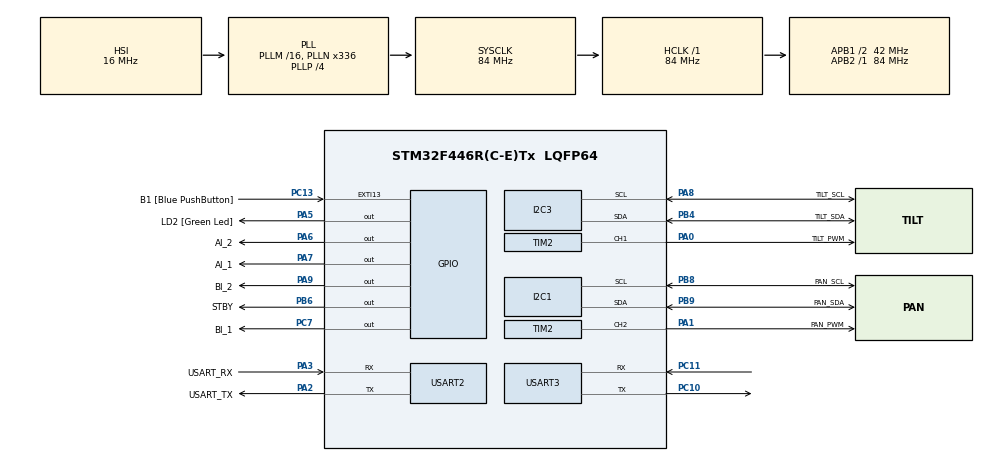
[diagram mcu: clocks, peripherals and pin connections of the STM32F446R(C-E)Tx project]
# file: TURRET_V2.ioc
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Dma.Request0=USART2_TX
Dma.USART2_TX.0.Direction=DMA_MEMORY_TO_PERIPH
Dma.USART2_TX.0.FIFOMode=DMA_FIFOMODE_DISABLE
Dma.USART2_TX.0.Instance=DMA1_Stream6
Dma.USART2_TX.0.MemDataAlignment=DMA_MDATAALIGN_BYTE
Dma.USART2_TX.0.MemInc=DMA_MINC_ENABLE
Dma.USART2_TX.0.Mode=DMA_NORMAL
Dma.USART2_TX.0.PeriphDataAlignment=DMA_PDATAALIGN_BYTE
Dma.USART2_TX.0.PeriphInc=DMA_PINC_DISABLE
Dma.USART2_TX.0.Priority=DMA_PRIORITY_LOW
Mcu.Family=STM32F4
Mcu.Name=STM32F446R(C-E)Tx
Mcu.Package=LQFP64
NVIC.DMA1_Stream6_IRQn=true\:0\:0\:false\:false\:true\:false\:true\:true
NVIC.I2C1_EV_IRQn=true\:0\:0\:false\:false\:true\:true\:true\:true
NVIC.I2C3_EV_IRQn=true\:0\:0\:false\:false\:true\:true\:true\:true
NVIC.PriorityGroup=NVIC_PRIORITYGROUP_0
NVIC.TIM3_IRQn=true\:0\:0\:false\:false\:true\:true\:true\:true
NVIC.USART2_IRQn=true\:0\:0\:false\:false\:true\:true\:true\:true
NVIC.USART3_IRQn=true\:0\:0\:false\:false\:true\:true\:true\:true
PA0-WKUP.GPIO_Label=TILT_PWM
PA0-WKUP.Signal=S_TIM2_CH1_ETR
PA1.GPIO_Label=PAN_PWM
PA1.Signal=S_TIM2_CH2
PA13.GPIO_Label=TMS
PA13.Mode=Serial_Wire
PA13.Signal=SYS_JTMS-SWDIO
PA14.GPIO_Label=TCK
PA14.Mode=Serial_Wire
PA14.Signal=SYS_JTCK-SWCLK
PA2.GPIO_Label=USART_TX
PA2.Mode=Asynchronous
PA2.Signal=USART2_TX
PA3.GPIO_Label=USART_RX
PA3.Mode=Asynchronous
PA3.Signal=USART2_RX
PA5.GPIO_Label=LD2 [Green Led]
PA5.Signal=GPIO_Output
PA6.GPIO_Label=AI_2
PA6.Signal=GPIO_Output
PA7.GPIO_Label=AI_1
PA7.Signal=GPIO_Output
PA8.GPIO_Label=TILT_SCL
PA8.Mode=I2C
PA8.Signal=I2C3_SCL
PA9.GPIO_Label=BI_2
PA9.Signal=GPIO_Output
PB3.GPIO_Label=SWO
PB3.Signal=SYS_JTDO-SWO
PB4.GPIO_Label=TILT_SDA
PB4.Mode=I2C
PB4.Signal=I2C3_SDA
PB6.GPIO_Label=STBY
PB6.Signal=GPIO_Output
PB8.GPIO_Label=PAN_SCL
PB8.Mode=I2C
PB8.Signal=I2C1_SCL
PB9.GPIO_Label=PAN_SDA
PB9.Mode=I2C
PB9.Signal=I2C1_SDA
PC10.Mode=Asynchronous
PC10.Signal=USART3_TX
PC11.Mode=Asynchronous
PC11.Signal=USART3_RX
PC13.GPIO_Label=B1 [Blue PushButton]
PC13.GPIO_ModeDefaultEXTI=GPIO_MODE_IT_FALLING
PC13.Signal=GPXTI13
PC14-OSC32_IN.Mode=LSE-External-Oscillator
PC14-OSC32_IN.Signal=RCC_OSC32_IN
PC15-OSC32_OUT.Mode=LSE-External-Oscillator
PC15-OSC32_OUT.Signal=RCC_OSC32_OUT
PC7.GPIO_Label=BI_1
PC7.Signal=GPIO_Output
PH0-OSC_IN.Mode=HSE-External-Oscillator
PH0-OSC_IN.Signal=RCC_OSC_IN
PH1-OSC_OUT.Mode=HSE-External-Oscillator
PH1-OSC_OUT.Signal=RCC_OSC_OUT
ProjectManager.HeapSize=0x200
ProjectManager.StackSize=0x400
ProjectManager.TargetToolchain=STM32CubeIDE
RCC.48MHZClocksFreq_Value=84000000
RCC.AHBFreq_Value=84000000
RCC.APB1CLKDivider=RCC_HCLK_DIV2
RCC.APB1Freq_Value=42000000
RCC.APB1TimFreq_Value=84000000
RCC.APB2Freq_Value=84000000
RCC.APB2TimFreq_Value=84000000
RCC.CortexFreq_Value=84000000
RCC.FLatency-AdvancedSettings=FLASH_LATENCY_2
RCC.HCLKFreq_Value=84000000
RCC.HSE_VALUE=8000000
RCC.HSI_VALUE=16000000
RCC.PLLN=336
RCC.PLLP=RCC_PLLP_DIV4
RCC.SYSCLKFreq_VALUE=84000000
RCC.SYSCLKSource=RCC_SYSCLKSOURCE_PLLCLK
RCC.USBFreq_Value=168000000
RCC.VCOOutputFreq_Value=336000000
SH.S_TIM2_CH1_ETR.0=TIM2_CH1,PWM Generation1 CH1
SH.S_TIM2_CH2.0=TIM2_CH2,PWM Generation2 CH2
TIM2.Channel-PWM\ Generation1\ CH1=TIM_CHANNEL_1
TIM2.Channel-PWM\ Generation2\ CH2=TIM_CHANNEL_2
TIM2.Period=999
TIM2.Prescaler=3
TIM3.Period=6249
TIM3.Prescaler=83
USART2.VirtualMode=VM_ASYNC
USART3.VirtualMode=VM_ASYNC
VP_TIM2_VS_ClockSourceINT.Mode=Internal
VP_TIM3_VS_ClockSourceINT.Mode=Internal
board=NUCLEO-F446RE

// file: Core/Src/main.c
/* USER CODE BEGIN Header */
/**
  ******************************************************************************
  * @file           : main.c
  * @brief          : Main program body
  ******************************************************************************
  * @attention
  *
  * Copyright (c) 2026 STMicroelectronics.
  * All rights reserved.
  *
  * This software is licensed under terms that can be found in the LICENSE file
  * in the root directory of this software component.
  * If no LICENSE file comes with this software, it is provided AS-IS.
  *
  ******************************************************************************
  */
/* USER CODE END Header */
#include "main.h"

/* USER CODE BEGIN Includes */
#include "string.h"
#include "stdlib.h"
#include "stdio.h"
#include "math.h"
#include "pid.h"
#include "telemetry.h"

/* USER CODE END Includes */

/* USER CODE BEGIN PD */
#define RX_BUF_SIZE 16
#define MAX_FIELD 4 // i.e: "p-70" is 4 chars

#define I2C_FAIL_LIMIT 5   // consecutive failures before recovery

#define TELEM_TARGET_PAN 1 // Which axis telemetry streams. 1 = pan, 0 = tilt.

#define TILT_ANGLE_MAX 210.0 // from chassis physical constraints + encoder readings based on assembled magnet orientation
#define TILT_ANGLE_MIN 100

#define PAN_ANGLE_MAX 190.0
#define PAN_ANGLE_MIN 50.0

/* USER CODE END PD */

I2C_HandleTypeDef hi2c1;
I2C_HandleTypeDef hi2c3;

TIM_HandleTypeDef htim2;
TIM_HandleTypeDef htim3;

UART_HandleTypeDef huart2;
UART_HandleTypeDef huart3;

DMA_HandleTypeDef hdma_usart2_tx; // for telemetry read from stm to mac to tune PID gains

void SystemClock_Config(void);
static void MX_GPIO_Init(void);
static void MX_DMA_Init(void);
static void MX_I2C1_Init(void);
static void MX_I2C3_Init(void);
static void MX_TIM2_Init(void);
static void MX_USART2_UART_Init(void);
static void MX_USART3_UART_Init(void);
static void MX_TIM3_Init(void);
/* USER CODE BEGIN PFP */
void parse (char *);
float read_angle(I2C_HandleTypeDef *hi2c);
void i2c_recover(PID_t *pid, GPIO GPIO_1, GPIO GPIO_2, I2C_HandleTypeDef *hi2c);
static float boot_read_angle(I2C_HandleTypeDef *hi2c);

/* USER CODE END PFP */

/* USER CODE BEGIN 0 */
volatile uint32_t pid_tick = 0; // for telemetry

// ------ UART ------
volatile char rx_buff[RX_BUF_SIZE];
volatile char rxByte;
volatile uint8_t rxIndex;
volatile uint8_t cmdReady;
// ------------------

// ------ PID target positions ------
float target_tilt_position;
float target_pan_position;
// ----------------------------------

volatile uint8_t flag; //toggles at pid frequency (160hz form timer 3)

// ------ Motor driver GPIOs to set direction ------
// ------     (B = Pan, A = Tilt)      ------
GPIO AIN1 = {AI_1_GPIO_Port, AI_1_Pin};
GPIO AIN2 = {AI_2_GPIO_Port, AI_2_Pin};

GPIO BIN1 = {BI_1_GPIO_Port, BI_1_Pin};
GPIO BIN2 = {BI_2_GPIO_Port, BI_2_Pin};
// --------------------------------------------

// ------ PID motor gain assignment ------
PID_t pan_pid = { .kp = 30, .ki = 0, .kd = 0.75f, .out_limit = 999.0f, .integral_limit = 300.0f, .slew = 25.0f,
                  .ff_fwd = 86.0f, .ff_rev = 84.0f, .ff_vel_fade = 60.0f, .kv = 1.6f, .band_stop = 3.0f, .band_go = 4.5f,
                  .track_vel = 5.0f, .stall_ticks = 24, .fric_fwd = 0.0f, .fric_rev = 0.0f, .fric_vel = 0.0f};

PID_t tilt_pid = { .kp = 10, .ki = 3.0f, .kd = 0.75f, .out_limit = 999.0f, .integral_limit = 300.0f, .slew = 0.0f,
                   .ff_fwd = 90.0f, .ff_rev = 75.0f, .ff_vel_fade = 60.0f, .kv = 0.0f, .band_stop = 0.5f, .band_go = 1.2f,
                   .track_vel = 0.0f, .stall_ticks = 0, .fric_fwd = 155.0f, .fric_rev = 125.0f, .fric_vel = 2.0f};
// ---------------------------------------

float pan_angle_max;
float pan_angle_min;

float tilt_angle_max;
float tilt_angle_min;

// ------ Reference (Zero) point ------
float boot_pan_pos;
float boot_tilt_pos;
// ------------------------------------

// ------ Used to transmit the current absolute position of the motors relative to the reference point to the pi ------
static char tx_buf[48];
// --------------------------------------------------------------------------------------------------------------------

/* USER CODE END 0 */

int main(void)
{

  /* MCU Configuration--------------------------------------------------------*/

  /* Reset of all peripherals, Initializes the Flash interface and the Systick. */
  HAL_Init();

  /* Configure the system clock */
  SystemClock_Config();

  /* Initialize all configured peripherals */
  MX_GPIO_Init();
  MX_DMA_Init();
  MX_I2C1_Init();
  MX_I2C3_Init();
  MX_TIM2_Init();
  MX_USART2_UART_Init();
  MX_USART3_UART_Init();
  MX_TIM3_Init();
  /* USER CODE BEGIN 2 */

  HAL_UART_Receive_IT(&huart3, &rxByte, 1);
  HAL_TIM_PWM_Start(&htim2, TIM_CHANNEL_1);
  HAL_TIM_PWM_Start(&htim2, TIM_CHANNEL_2);
  HAL_TIM_Base_Start_IT(&htim3);
  __HAL_I2C_ENABLE(&hi2c1);
  __HAL_I2C_ENABLE(&hi2c3);

  // test to make sure motors spin the right way
//    HAL_GPIO_WritePin(AIN1.port, AIN1.pin, GPIO_PIN_SET); // should  be up
//    HAL_GPIO_WritePin(AIN2.port, AIN2.pin, GPIO_PIN_RESET);
//    __HAL_TIM_SET_COMPARE(&htim2, TIM_CHANNEL_1, 200);
//    HAL_Delay(500);
//    __HAL_TIM_SET_COMPARE(&htim2, TIM_CHANNEL_1, 0);
//    HAL_GPIO_WritePin(AIN1.port, AIN1.pin, GPIO_PIN_RESET);
//    HAL_GPIO_WritePin(AIN2.port, AIN2.pin, GPIO_PIN_RESET);
//    while(1);

//    HAL_GPIO_WritePin(BIN1.port, BIN1.pin, GPIO_PIN_SET); // should be clockwise
//    HAL_GPIO_WritePin(BIN2.port, BIN2.pin, GPIO_PIN_RESET);
//    __HAL_TIM_SET_COMPARE(&htim2, TIM_CHANNEL_2, 200);
//      HAL_Delay(500);
//      __HAL_TIM_SET_COMPARE(&htim2, TIM_CHANNEL_2, 0);
//      HAL_GPIO_WritePin(BIN1.port, BIN1.pin, GPIO_PIN_RESET);
//      HAL_GPIO_WritePin(BIN2.port, BIN2.pin, GPIO_PIN_RESET);
//
//    while(1);

  boot_pan_pos = boot_read_angle(&hi2c1);
  target_pan_position   = boot_pan_pos;
  pan_pid.prev_measurement = boot_pan_pos;
  pan_angle_max = PAN_ANGLE_MAX;
  pan_angle_min = PAN_ANGLE_MIN;

  boot_tilt_pos = boot_read_angle(&hi2c3);
  target_tilt_position  = boot_tilt_pos;
  tilt_pid.prev_measurement = boot_tilt_pos;
  tilt_angle_max = TILT_ANGLE_MAX;
  tilt_angle_min = TILT_ANGLE_MIN;

  // arm the driver
  HAL_GPIO_WritePin(STBY_GPIO_Port, STBY_Pin, GPIO_PIN_SET);

  /* USER CODE END 2 */

  /* Infinite loop */
  /* USER CODE BEGIN WHILE */
  while (1)
  {
	  if (cmdReady) {
	  		 parse(rx_buff); // Populate target_pan_position and target_tilt_position
	  	     cmdReady = 0;
	  	  }

	  if (flag) {

		  float current_tilt_position = read_angle(&hi2c3);
		  float current_pan_position  = read_angle(&hi2c1);

		  if (current_tilt_position == 0xFFFF) {
		      i2c_recover(&tilt_pid, AIN2, AIN1, &hi2c3);
		  } else {
			  if (tilt_pid.reseed) {
			      tilt_pid.prev_measurement = current_tilt_position;
			      tilt_pid.prev_target      = target_tilt_position;
			      tilt_pid.tvel_f           = 0.0f;
			      tilt_pid.speed_f          = 0.0f;
			      tilt_pid.reseed           = 0;
			  }
		      tilt_pid.fail_count = 0;

		      if (target_tilt_position > tilt_angle_max) target_tilt_position = tilt_angle_max;
		      if (target_tilt_position < tilt_angle_min) target_tilt_position = tilt_angle_min;

		      float tilt_ccr = pid(target_tilt_position, current_tilt_position, AIN2, AIN1, &tilt_pid);
		      __HAL_TIM_SET_COMPARE(&htim2, TIM_CHANNEL_1, tilt_ccr);
		  }

		  if (current_pan_position == 0xFFFF) {
		      i2c_recover(&pan_pid, BIN1, BIN2, &hi2c1);
		  } else {
			  if (pan_pid.reseed) {
			      	  pan_pid.prev_measurement = current_pan_position;
			      	  pan_pid.prev_target      = target_pan_position;
			      	  pan_pid.tvel_f           = 0.0f;
			      	  pan_pid.speed_f          = 0.0f;
			      	  pan_pid.reseed           = 0;
			  }
		      pan_pid.fail_count = 0;

		      if (target_pan_position > pan_angle_max) target_pan_position = pan_angle_max;
		      if (target_pan_position < pan_angle_min) target_pan_position = pan_angle_min;

		      float pan_ccr = pid(target_pan_position, current_pan_position, BIN1, BIN2, &pan_pid);
		      __HAL_TIM_SET_COMPARE(&htim2, TIM_CHANNEL_2, pan_ccr);
		  }

			  // ----- Telemetry for tuning -----

		  if (TELEM_TARGET_PAN) {
			  if (current_pan_position != 0xFFFF) {
				  telemetry_emit(pid_tick, (float)target_pan_position, current_pan_position,
			                 (float)target_pan_position - current_pan_position,
			                 pan_pid.last_output, &pan_pid);
			  }
		  }
		  else {
			  if (current_tilt_position != 0xFFFF) {
				  telemetry_emit(pid_tick, (float)target_tilt_position, current_tilt_position,
			                 (float)target_tilt_position - current_tilt_position,
			                 tilt_pid.last_output, &tilt_pid);
			  }
		  }

		  // ----- Send updated current pan and tilt position back to the pi ------
		  int len = snprintf(tx_buf, sizeof(tx_buf), "p%.2ft%.2f\n", current_pan_position  - boot_pan_pos, current_tilt_position - boot_tilt_pos);
		  HAL_UART_Transmit_IT(&huart3, (uint8_t *)tx_buf, len);

	      pid_tick++;
	      flag = 0;
	  }

    /* USER CODE END WHILE */

  }
}

void SystemClock_Config(void)
{
  RCC_OscInitTypeDef RCC_OscInitStruct = {0};
  RCC_ClkInitTypeDef RCC_ClkInitStruct = {0};

  /** Configure the main internal regulator output voltage
  */
  __HAL_RCC_PWR_CLK_ENABLE();
  __HAL_PWR_VOLTAGESCALING_CONFIG(PWR_REGULATOR_VOLTAGE_SCALE3);

  /** Initializes the RCC Oscillators according to the specified parameters
  * in the RCC_OscInitTypeDef structure.
  */
  RCC_OscInitStruct.OscillatorType = RCC_OSCILLATORTYPE_HSI;
  RCC_OscInitStruct.HSIState = RCC_HSI_ON;
  RCC_OscInitStruct.HSICalibrationValue = RCC_HSICALIBRATION_DEFAULT;
  RCC_OscInitStruct.PLL.PLLState = RCC_PLL_ON;
  RCC_OscInitStruct.PLL.PLLSource = RCC_PLLSOURCE_HSI;
  RCC_OscInitStruct.PLL.PLLM = 16;
  RCC_OscInitStruct.PLL.PLLN = 336;
  RCC_OscInitStruct.PLL.PLLP = RCC_PLLP_DIV4;
  RCC_OscInitStruct.PLL.PLLQ = 2;
  RCC_OscInitStruct.PLL.PLLR = 2;
  if (HAL_RCC_OscConfig(&RCC_OscInitStruct) != HAL_OK)
  {
    Error_Handler();
  }

  /** Initializes the CPU, AHB and APB buses clocks
  */
  RCC_ClkInitStruct.ClockType = RCC_CLOCKTYPE_HCLK|RCC_CLOCKTYPE_SYSCLK
                              |RCC_CLOCKTYPE_PCLK1|RCC_CLOCKTYPE_PCLK2;
  RCC_ClkInitStruct.SYSCLKSource = RCC_SYSCLKSOURCE_PLLCLK;
  RCC_ClkInitStruct.AHBCLKDivider = RCC_SYSCLK_DIV1;
  RCC_ClkInitStruct.APB1CLKDivider = RCC_HCLK_DIV2;
  RCC_ClkInitStruct.APB2CLKDivider = RCC_HCLK_DIV1;

  if (HAL_RCC_ClockConfig(&RCC_ClkInitStruct, FLASH_LATENCY_2) != HAL_OK)
  {
    Error_Handler();
  }
}

static void MX_I2C1_Init(void)
{

  hi2c1.Instance = I2C1;
  hi2c1.Init.ClockSpeed = 100000;
  hi2c1.Init.DutyCycle = I2C_DUTYCYCLE_2;
  hi2c1.Init.OwnAddress1 = 0;
  hi2c1.Init.AddressingMode = I2C_ADDRESSINGMODE_7BIT;
  hi2c1.Init.DualAddressMode = I2C_DUALADDRESS_DISABLE;
  hi2c1.Init.OwnAddress2 = 0;
  hi2c1.Init.GeneralCallMode = I2C_GENERALCALL_DISABLE;
  hi2c1.Init.NoStretchMode = I2C_NOSTRETCH_DISABLE;
  if (HAL_I2C_Init(&hi2c1) != HAL_OK)
  {
    Error_Handler();
  }

}

static void MX_I2C3_Init(void)
{

  hi2c3.Instance = I2C3;
  hi2c3.Init.ClockSpeed = 100000;
  hi2c3.Init.DutyCycle = I2C_DUTYCYCLE_2;
  hi2c3.Init.OwnAddress1 = 0;
  hi2c3.Init.AddressingMode = I2C_ADDRESSINGMODE_7BIT;
  hi2c3.Init.DualAddressMode = I2C_DUALADDRESS_DISABLE;
  hi2c3.Init.OwnAddress2 = 0;
  hi2c3.Init.GeneralCallMode = I2C_GENERALCALL_DISABLE;
  hi2c3.Init.NoStretchMode = I2C_NOSTRETCH_DISABLE;
  if (HAL_I2C_Init(&hi2c3) != HAL_OK)
  {
    Error_Handler();
  }

}

static void MX_TIM2_Init(void)
{

  TIM_ClockConfigTypeDef sClockSourceConfig = {0};
  TIM_MasterConfigTypeDef sMasterConfig = {0};
  TIM_OC_InitTypeDef sConfigOC = {0};

  htim2.Instance = TIM2;
  htim2.Init.Prescaler = 3;
  htim2.Init.CounterMode = TIM_COUNTERMODE_UP;
  htim2.Init.Period = 999;
  htim2.Init.ClockDivision = TIM_CLOCKDIVISION_DIV1;
  htim2.Init.AutoReloadPreload = TIM_AUTORELOAD_PRELOAD_DISABLE;
  if (HAL_TIM_Base_Init(&htim2) != HAL_OK)
  {
    Error_Handler();
  }
  sClockSourceConfig.ClockSource = TIM_CLOCKSOURCE_INTERNAL;
  if (HAL_TIM_ConfigClockSource(&htim2, &sClockSourceConfig) != HAL_OK)
  {
    Error_Handler();
  }
  if (HAL_TIM_PWM_Init(&htim2) != HAL_OK)
  {
    Error_Handler();
  }
  sMasterConfig.MasterOutputTrigger = TIM_TRGO_RESET;
  sMasterConfig.MasterSlaveMode = TIM_MASTERSLAVEMODE_DISABLE;
  if (HAL_TIMEx_MasterConfigSynchronization(&htim2, &sMasterConfig) != HAL_OK)
  {
    Error_Handler();
  }
  sConfigOC.OCMode = TIM_OCMODE_PWM1;
  sConfigOC.Pulse = 0;
  sConfigOC.OCPolarity = TIM_OCPOLARITY_HIGH;
  sConfigOC.OCFastMode = TIM_OCFAST_DISABLE;
  if (HAL_TIM_PWM_ConfigChannel(&htim2, &sConfigOC, TIM_CHANNEL_1) != HAL_OK)
  {
    Error_Handler();
  }
  if (HAL_TIM_PWM_ConfigChannel(&htim2, &sConfigOC, TIM_CHANNEL_2) != HAL_OK)
  {
    Error_Handler();
  }
  HAL_TIM_MspPostInit(&htim2);

}

static void MX_TIM3_Init(void)
{

  TIM_ClockConfigTypeDef sClockSourceConfig = {0};
  TIM_MasterConfigTypeDef sMasterConfig = {0};

  htim3.Instance = TIM3;
  htim3.Init.Prescaler = 83;
  htim3.Init.CounterMode = TIM_COUNTERMODE_UP;
  htim3.Init.Period = 6249;
  htim3.Init.ClockDivision = TIM_CLOCKDIVISION_DIV1;
  htim3.Init.AutoReloadPreload = TIM_AUTORELOAD_PRELOAD_DISABLE;
  if (HAL_TIM_Base_Init(&htim3) != HAL_OK)
  {
    Error_Handler();
  }
  sClockSourceConfig.ClockSource = TIM_CLOCKSOURCE_INTERNAL;
  if (HAL_TIM_ConfigClockSource(&htim3, &sClockSourceConfig) != HAL_OK)
  {
    Error_Handler();
  }
  sMasterConfig.MasterOutputTrigger = TIM_TRGO_RESET;
  sMasterConfig.MasterSlaveMode = TIM_MASTERSLAVEMODE_DISABLE;
  if (HAL_TIMEx_MasterConfigSynchronization(&htim3, &sMasterConfig) != HAL_OK)
  {
    Error_Handler();
  }

}

static void MX_USART2_UART_Init(void)
{

  huart2.Instance = USART2;
  huart2.Init.BaudRate = 115200;
  huart2.Init.WordLength = UART_WORDLENGTH_8B;
  huart2.Init.StopBits = UART_STOPBITS_1;
  huart2.Init.Parity = UART_PARITY_NONE;
  huart2.Init.Mode = UART_MODE_TX_RX;
  huart2.Init.HwFlowCtl = UART_HWCONTROL_NONE;
  huart2.Init.OverSampling = UART_OVERSAMPLING_16;
  if (HAL_UART_Init(&huart2) != HAL_OK)
  {
    Error_Handler();
  }

}

static void MX_USART3_UART_Init(void)
{

  huart3.Instance = USART3;
  huart3.Init.BaudRate = 115200;
  huart3.Init.WordLength = UART_WORDLENGTH_8B;
  huart3.Init.StopBits = UART_STOPBITS_1;
  huart3.Init.Parity = UART_PARITY_NONE;
  huart3.Init.Mode = UART_MODE_TX_RX;
  huart3.Init.HwFlowCtl = UART_HWCONTROL_NONE;
  huart3.Init.OverSampling = UART_OVERSAMPLING_16;
  if (HAL_UART_Init(&huart3) != HAL_OK)
  {
    Error_Handler();
  }

}

static void MX_DMA_Init(void)
{

  /* DMA controller clock enable */
  __HAL_RCC_DMA1_CLK_ENABLE();

  /* DMA interrupt init */
  /* DMA1_Stream6_IRQn interrupt configuration */
  HAL_NVIC_SetPriority(DMA1_Stream6_IRQn, 0, 0);
  HAL_NVIC_EnableIRQ(DMA1_Stream6_IRQn);

}

static void MX_GPIO_Init(void)
{
  GPIO_InitTypeDef GPIO_InitStruct = {0};

  /* GPIO Ports Clock Enable */
  __HAL_RCC_GPIOC_CLK_ENABLE();
  __HAL_RCC_GPIOH_CLK_ENABLE();
  __HAL_RCC_GPIOA_CLK_ENABLE();
  __HAL_RCC_GPIOB_CLK_ENABLE();

  /*Configure GPIO pin Output Level */
  HAL_GPIO_WritePin(GPIOA, LD2_Pin|AI_2_Pin|AI_1_Pin|BI_2_Pin, GPIO_PIN_RESET);

  /*Configure GPIO pin Output Level */
  HAL_GPIO_WritePin(BI_1_GPIO_Port, BI_1_Pin, GPIO_PIN_RESET);

  /*Configure GPIO pin Output Level */
  HAL_GPIO_WritePin(STBY_GPIO_Port, STBY_Pin, GPIO_PIN_RESET);

  /*Configure GPIO pin : B1_Pin */
  GPIO_InitStruct.Pin = B1_Pin;
  GPIO_InitStruct.Mode = GPIO_MODE_IT_FALLING;
  GPIO_InitStruct.Pull = GPIO_NOPULL;
  HAL_GPIO_Init(B1_GPIO_Port, &GPIO_InitStruct);

  /*Configure GPIO pins : LD2_Pin AI_2_Pin AI_1_Pin BI_2_Pin */
  GPIO_InitStruct.Pin = LD2_Pin|AI_2_Pin|AI_1_Pin|BI_2_Pin;
  GPIO_InitStruct.Mode = GPIO_MODE_OUTPUT_PP;
  GPIO_InitStruct.Pull = GPIO_NOPULL;
  GPIO_InitStruct.Speed = GPIO_SPEED_FREQ_LOW;
  HAL_GPIO_Init(GPIOA, &GPIO_InitStruct);

  /*Configure GPIO pin : BI_1_Pin */
  GPIO_InitStruct.Pin = BI_1_Pin;
  GPIO_InitStruct.Mode = GPIO_MODE_OUTPUT_PP;
  GPIO_InitStruct.Pull = GPIO_NOPULL;
  GPIO_InitStruct.Speed = GPIO_SPEED_FREQ_LOW;
  HAL_GPIO_Init(BI_1_GPIO_Port, &GPIO_InitStruct);

  /*Configure GPIO pin : STBY_Pin */
  GPIO_InitStruct.Pin = STBY_Pin;
  GPIO_InitStruct.Mode = GPIO_MODE_OUTPUT_PP;
  GPIO_InitStruct.Pull = GPIO_NOPULL;
  GPIO_InitStruct.Speed = GPIO_SPEED_FREQ_LOW;
  HAL_GPIO_Init(STBY_GPIO_Port, &GPIO_InitStruct);

}

/* USER CODE BEGIN 4 */

// ------ Takes UART command from PI and parses into target motor positions ------
void parse (char *buffer) {

	char pan_buf[MAX_FIELD + 1]; // + 1 for the null character
	uint8_t i = 0;

	while (buffer[i] != ' ' && i < MAX_FIELD && buffer[i] != '\0') { // command protocol from the pi should be of the form "pxx txx"
		pan_buf[i] = buffer[i];
		i++;
	}
	pan_buf[i] = '\0';
	target_pan_position = atoi(&pan_buf[1]) + boot_pan_pos;

	if(target_pan_position > pan_angle_max) {
		target_pan_position = pan_angle_max;
	}

	if(target_pan_position < pan_angle_min) {
		target_pan_position = pan_angle_min;
	}

	if (buffer[++i] == 't') {
		char *tilt_buf = &(buffer[i + 1]); // i.e. at this point buffer[i] = t15
		target_tilt_position = atoi(tilt_buf) + boot_tilt_pos;
	}

	if(target_tilt_position > tilt_angle_max) {
		target_tilt_position = tilt_angle_max;
	}

	if(target_tilt_position < tilt_angle_min) {
		target_tilt_position = tilt_angle_min;
	}
}

// ------ Takes each byte one at a time over UART from the pi and stores it in the rx_buf ------
// ------           Overwrites weak ISR function (so dont need a prototype at top)          ------
void HAL_UART_RxCpltCallback(UART_HandleTypeDef *huart)
{
	if (huart->Instance == USART3) {
		if (rxByte == '\r' || rxByte == '\n') {
		    rx_buff[rxIndex] = '\0';
		    rxIndex = 0;
		    cmdReady = 1;
		} else if (rxIndex < RX_BUF_SIZE - 1) {
		    rx_buff[rxIndex] = rxByte;
		    rxIndex++;
		}
	}
	HAL_UART_Receive_IT(&huart3, &rxByte, 1);
}

// ------ Flag sets frequency of PID loop ------
void HAL_TIM_PeriodElapsedCallback(TIM_HandleTypeDef *htim)
{
    if (htim->Instance == TIM3) {
        // fires at 160 Hz
    	flag = 1;
    }
}

// ------ Read current position from encoder ------
#define MT6701_I2C_ADDR   (0x06 << 1)
#define MT6701_ANGLE_REG  0x03

float read_angle(I2C_HandleTypeDef *hi2c)
{
    uint8_t data[2] = {0};

    if (HAL_I2C_Mem_Read(hi2c, MT6701_I2C_ADDR, MT6701_ANGLE_REG,
                         I2C_MEMADD_SIZE_8BIT, data, 2, 100) != HAL_OK)
    {
        return 0xFFFF;
    }
    uint16_t raw = ((uint16_t)data[0] << 6) | (data[1] >> 2); // 14-bit raw encoder output
    return (raw * 360.0) / 16384.0; // returns angle in degrees
}

void i2c_recover(PID_t *pid, GPIO GPIO_1, GPIO GPIO_2, I2C_HandleTypeDef *hi2c)
{
	char err[] = "I2C read failed\r\n";
	HAL_UART_Transmit(&huart2, (uint8_t*)err, sizeof(err) - 1, HAL_MAX_DELAY);

	pid -> fail_count++;

	pid->integral = 0;
	pid -> reseed = 1;
	pid->last_output = 0.0f;
	pid-> stall_count = 0;
	pid -> in_band = 1;
	HAL_GPIO_WritePin(GPIO_1.port, GPIO_1.pin, GPIO_PIN_SET);
	HAL_GPIO_WritePin(GPIO_2.port, GPIO_2.pin, GPIO_PIN_SET);

	if (pid->fail_count >= I2C_FAIL_LIMIT) {

	    char msg[] = "I2C recovering...\r\n";
	    HAL_UART_Transmit(&huart2, (uint8_t*)msg, sizeof(msg) - 1, HAL_MAX_DELAY);

	    HAL_I2C_DeInit(hi2c);
	    HAL_Delay(2);

		if (hi2c->Instance == I2C3) {
			MX_I2C3_Init();
		} else if(hi2c->Instance == I2C1){
			MX_I2C1_Init();
		}
		pid->fail_count = 0;
	}
}

// Blocks until a valid reading (0..360). Driver stays disabled meanwhile.
static float boot_read_angle(I2C_HandleTypeDef *hi2c)
{
    float a = read_angle(hi2c);
    uint32_t t0 = HAL_GetTick();
    while (a > 360.0f) {                 // 65535 sentinel or any garbage
        HAL_Delay(5);
        a = read_angle(hi2c);
        if (HAL_GetTick() - t0 > 3000) { // encoder never answered
            char msg[] = "BOOT: encoder dead, motors disabled\r\n";
            HAL_UART_Transmit(&huart2, (uint8_t*)msg, sizeof(msg)-1, HAL_MAX_DELAY);
            HAL_GPIO_WritePin(STBY_GPIO_Port, STBY_Pin, GPIO_PIN_RESET);
            while (1) { }                // hang safe rather than slam
        }
    }
    return a;
}

/* USER CODE END 4 */

void Error_Handler(void)
{
  __disable_irq();
  while (1)
  {
  }
}
